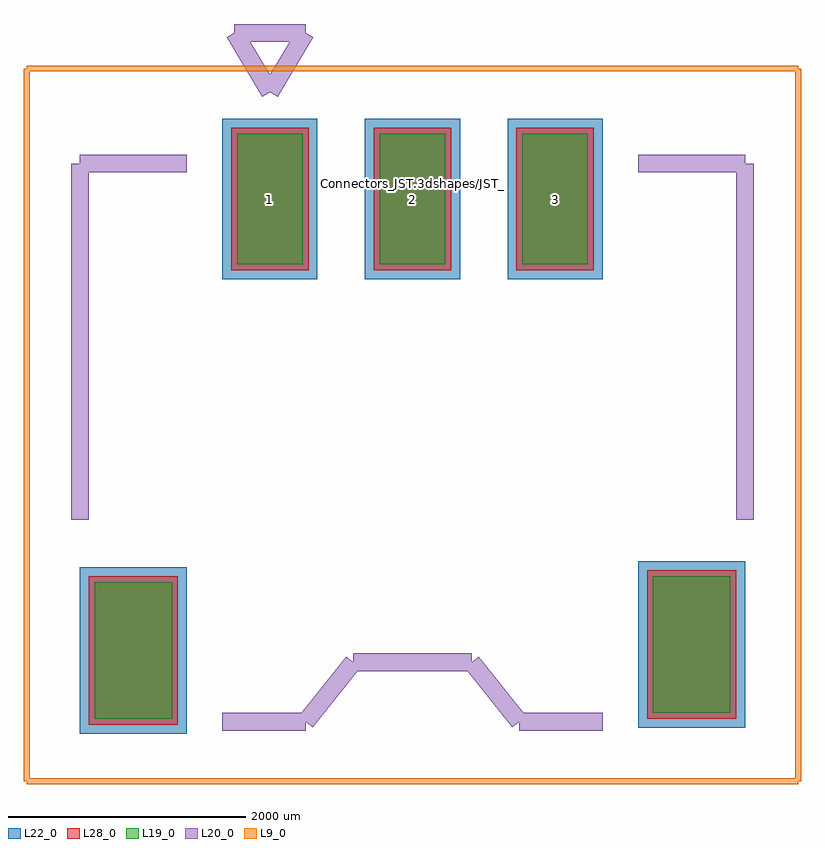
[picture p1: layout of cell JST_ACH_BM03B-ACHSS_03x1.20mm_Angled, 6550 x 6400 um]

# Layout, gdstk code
import gdstk
lib = gdstk.Library(unit=1e-6, precision=1e-09)
def R(c, l, rs):  # rectangles x0, y0, x1, y1
    for r in rs: c.add(gdstk.rectangle(r[:2], r[2:], *l))
def A(c, l, x, y, w, h, nx, ny, dx, dy):  # array of equal rectangles
    R(c, l, [(x+i*dx, y+j*dy, x+i*dx+w, y+j*dy+h) for i in range(nx) for j in range(ny)])
L9_0 = (9, 0)
L19_0 = (19, 0)
L20_0 = (20, 0)
L22_0 = (22, 0)
L28_0 = (28, 0)

jst_ach_bm03b_achss_03x1 = lib.new_cell('JST_ACH_BM03B-ACHSS_03x1.20mm_Angled')
A(jst_ach_bm03b_achss_03x1, L19_0, -1475, 1350, 550, 1100, 3, 1, 1200, 0)
R(jst_ach_bm03b_achss_03x1, L19_0, [(-2675,-2475,-2025,-1325), (2025,-2425,2675,-1275)])
A(jst_ach_bm03b_achss_03x1, L22_0, -1600, 1225, 800, 1350, 3, 1, 1200, 0)
R(jst_ach_bm03b_achss_03x1, L22_0, [(-2800,-2600,-1900,-1200), (1900,-2550,2800,-1150)])
A(jst_ach_bm03b_achss_03x1, L28_0, -1525, 1300, 650, 1200, 3, 1, 1200, 0)
R(jst_ach_bm03b_achss_03x1, L28_0, [(-2725,-2525,-1975,-1275), (1975,-2475,2725,-1225)])
jst_ach_bm03b_achss_03x1.add(gdstk.FlexPath([(-2800,2200),(-1900,2200)], 149.998, ends="flush", simple_path=True, layer=20, datatype=0))  # L20_0
jst_ach_bm03b_achss_03x1.add(gdstk.FlexPath([(-2800,-800),(-2800,2200)], 149.998, ends="flush", simple_path=True, layer=20, datatype=0))  # L20_0
jst_ach_bm03b_achss_03x1.add(gdstk.FlexPath([(2800,2200),(1900,2200)], 149.998, ends="flush", simple_path=True, layer=20, datatype=0))  # L20_0
jst_ach_bm03b_achss_03x1.add(gdstk.FlexPath([(2800,-800),(2800,2200)], 149.998, ends="flush", simple_path=True, layer=20, datatype=0))  # L20_0
jst_ach_bm03b_achss_03x1.add(gdstk.FlexPath([(1600,-2500),(900,-2500)], 149.998, ends="flush", simple_path=True, layer=20, datatype=0))  # L20_0
jst_ach_bm03b_achss_03x1.add(gdstk.FlexPath([(-1600,-2500),(-900,-2500)], 149.998, ends="flush", simple_path=True, layer=20, datatype=0))  # L20_0
jst_ach_bm03b_achss_03x1.add(gdstk.FlexPath([(500,-2000),(900,-2500)], 149.998, ends="flush", simple_path=True, layer=20, datatype=0))  # L20_0
jst_ach_bm03b_achss_03x1.add(gdstk.FlexPath([(-500,-2000),(500,-2000)], 149.998, ends="flush", simple_path=True, layer=20, datatype=0))  # L20_0
jst_ach_bm03b_achss_03x1.add(gdstk.FlexPath([(-900,-2500),(-500,-2000)], 149.998, ends="flush", simple_path=True, layer=20, datatype=0))  # L20_0
jst_ach_bm03b_achss_03x1.add(gdstk.FlexPath([(-1500,3300),(-1200,2800)], 149.998, ends="flush", simple_path=True, layer=20, datatype=0))  # L20_0
jst_ach_bm03b_achss_03x1.add(gdstk.FlexPath([(-900,3300),(-1500,3300)], 149.998, ends="flush", simple_path=True, layer=20, datatype=0))  # L20_0
jst_ach_bm03b_achss_03x1.add(gdstk.FlexPath([(-1200,2800),(-900,3300)], 149.998, ends="flush", simple_path=True, layer=20, datatype=0))  # L20_0
jst_ach_bm03b_achss_03x1.add(gdstk.FlexPath([(3250,3000),(3250,-3000)], 50, ends="flush", simple_path=True, layer=9, datatype=0))  # L9_0
jst_ach_bm03b_achss_03x1.add(gdstk.FlexPath([(3250,-3000),(-3250,-3000)], 50, ends="flush", simple_path=True, layer=9, datatype=0))  # L9_0
jst_ach_bm03b_achss_03x1.add(gdstk.FlexPath([(-3250,-3000),(-3250,3000)], 50, ends="flush", simple_path=True, layer=9, datatype=0))  # L9_0
jst_ach_bm03b_achss_03x1.add(gdstk.FlexPath([(-3250,3000),(3250,3000)], 50, ends="flush", simple_path=True, layer=9, datatype=0))  # L9_0
jst_ach_bm03b_achss_03x1.add(gdstk.Label('Connectors_JST.3dshapes/JST_ACH_BM03B-ACHSS_03x1.20mm_Angled.wrl', (0,2032), layer=12, texttype=0))
jst_ach_bm03b_achss_03x1.add(gdstk.Label('3', (1200,1900), layer=28, texttype=0))
jst_ach_bm03b_achss_03x1.add(gdstk.Label('2', (0,1900), layer=28, texttype=0))
jst_ach_bm03b_achss_03x1.add(gdstk.Label('1', (-1200,1900), layer=28, texttype=0))
jst_ach_bm03b_achss_03x1.add(gdstk.Label('type', (0,4800), layer=9, texttype=0))
jst_ach_bm03b_achss_03x1.add(gdstk.Label('devicename', (0,-4000), layer=9, texttype=0))

lib.write_gds('JST_ACH_BM03B-ACHSS_03x1.20mm_Angled.gds')
